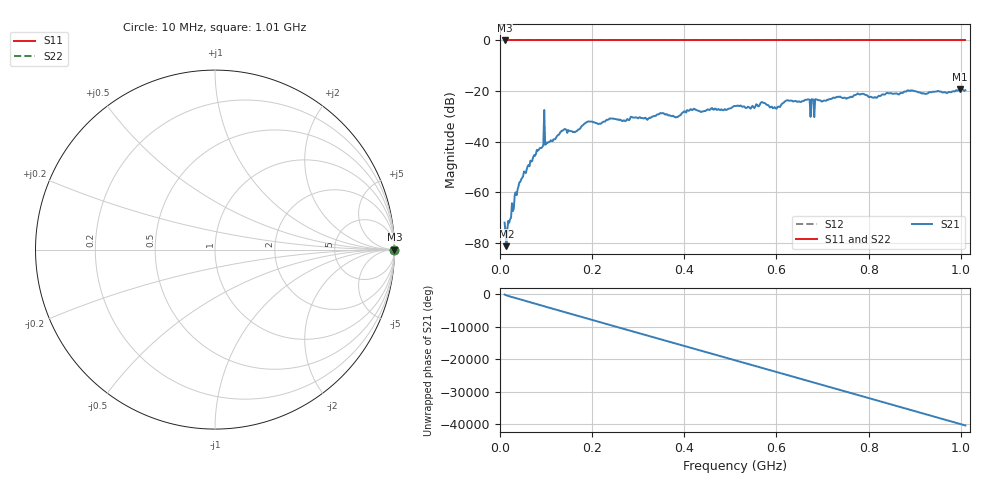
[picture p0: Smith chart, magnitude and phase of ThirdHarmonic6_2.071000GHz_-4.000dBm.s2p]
! 8/17/2025 12:48:17 AM
! C:\ANRITSUVNA\TEMP\TEMP.S2P
! CHANNEL.1
! TR.MEASUREMENT
! RAW.DATA
! RF.CORRECTION.OFF
! AVERAGING.OFF
! IF.BANDWIDTH: 5KHZ
! SWEEPTYPE:  FREQ.SWEEP(Linear)
! Reference Plane Port Info
! PORT:  PORT1  PORT2
! DISTANCE:  0  m  0  m
! TIME:  0  s  0  s
! PHASE.OFFSET:  0  deg.  0  deg.
! LOSS:  0  dB  0  dB
! REF.LOSS:  0  dB  0  dB
! REF.FREQ:  0  Hz  0  Hz
! Power Info
! POWER:  -20  dBm  -20  dBm
! EFF.POWER:  -20  dBm  -20  dBm
! SOURCE.ATTEN:  0  dB  0  dB
! TEST.ATTEN:  0  dB  0  dB
# GHZ S RI R 50.0
! FREQ.GHZ  S11RE  S11IM  S21RE  S21IM  S12RE  S12IM  S22RE  S22IM
!; PortSelection: Port_12
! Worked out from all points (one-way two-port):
!   501 points, 10 MHz to 1.01 GHz, reference 50 ohm
!   highest |S21| = -19.13 dB at 998 MHz (marker M1); lowest = -81.2 dB at 14 MHz (marker M2)
!   lowest |S11| = 0.0 dB at 10 MHz (marker M3)
!   |S11| at or under -10 dB: nowhere
!   |S22| runs from 0.0 to 0.0 dB; largest |S21 - S12| = 1.1
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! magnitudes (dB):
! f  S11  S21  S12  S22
! 10 MHz  0.0  -71.9  0.0  0.0
! 14 MHz  0.0  -81.2  0.0  0.0
! 44 MHz  0.0  -55.8  0.0  0.0
! 90 MHz  0.0  -42.5  0.0  0.0
! 92 MHz  0.0  -42.0  0.0  0.0
! 100 MHz  0.0  -40.9  0.0  0.0
! 102 MHz  0.0  -40.2  0.0  0.0
! 138 MHz  0.0  -35.3  0.0  0.0
! 178 MHz  0.0  -33.7  0.0  0.0
! 344 MHz  0.0  -29.2  0.0  0.0
! 382 MHz  0.0  -30.4  0.0  0.0
! 418 MHz  0.0  -27.4  0.0  0.0
! 510 MHz  0.0  -25.9  0.0  0.0
! 570 MHz  0.0  -24.4  0.0  0.0
! 596 MHz  0.0  -26.3  0.0  0.0
! 622 MHz  0.0  -23.7  0.0  0.0
! 668 MHz  0.0  -23.2  0.0  0.0
! 678 MHz  0.0  -23.3  0.0  0.0
! 688 MHz  0.0  -23.3  0.0  0.0
! 844 MHz  0.0  -20.9  0.0  0.0
! 998 MHz  0.0  -19.1  0.0  0.0
! 1.01 GHz  0.0  -19.6  0.0  0.0
